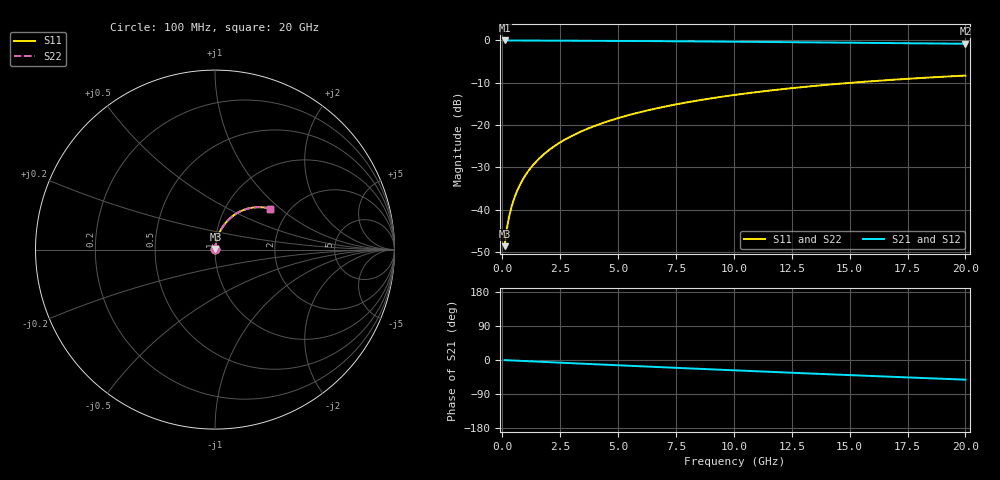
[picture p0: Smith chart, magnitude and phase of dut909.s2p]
! Touchstone file exported from HFSS 2026.1.0
!  File:  C:/ffzhzh/LocalFiles/Ansys_Project_Files/temp_train_BSMRDL_909_1783171526_51560.aedt
!  Generated:  09:26:50 PM Jul  4, 2026
!  Design:  BSMRDL
!  Project:  temp_train_BSMRDL_909_1783171526_51560
! Variables:
!  h_bsmrdl = 5.21um
!  h_ox = 20um
!  h_rdl = 5um
!  h_sub = 80um
!  h_tmrdl = 5um
!  h_tsv = 80um
!  h_via = 3um
!  l_bsmrdl = 826.71um
!  l_sub = 1226.71um
!  l_tmrdl = 200um
!  m_sub = 200um
!  pitch = 49.9um
!  r_tsv = 6um
!  s_tmrdl = 10um
!  w_bsmrdl = 25.67um
!  w_sub = 500um
!  w_tmrdl = 12um
!  x_tsv_center1 = 206um
!  x_tsv_center2 = 1058.38um
!  x_tsv_center3 = 1270.38um
!  x_tsv_center4 = 2122.76um
!  x_tsv_center5 = 2334.76um
!  x_tsv_center6 = 3187.14um
# GHz S MA R 50.000000
! Terminal data exported
! Port[1] = BSM_RDL1_1_T1
! Port[2] = BSM_RDL1_1_T2
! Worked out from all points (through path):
!   200 points, 100 MHz to 20 GHz, reference 50 ohm
!   highest |S21| = -0.02 dB at 100 MHz (marker M1); lowest = -0.8 dB at 20 GHz (marker M2)
!   group delay of S21, straight-line fit = 7.2 ps
!   lowest |S11| = -48.7 dB at 100 MHz (marker M3), VSWR 1.01, Z = 50.2 + j0.28 ohm
!   |S11| at or under -10 dB: start of sweep to 15.13 GHz
!   |S22| runs from -48.7 to -8.3 dB; largest |S21 - S12| = 2.7e-14
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0.1  0.003689 49.0  0.9976 -0.3  0.9976 -0.3  0.003689 49.0
! Gamma 0 0 0 0
! Port Impedance 50 0 50 0
0.2  0.006008 63.6  0.9974 -0.6  0.9974 -0.6  0.006008 63.6
0.3  0.008386 69.8  0.9972 -0.9  0.9972 -0.9  0.008386 69.8
0.4  0.01078 73.3  0.9971 -1.2  0.9971 -1.2  0.01078 73.3
0.5  0.0132 75.6  0.997 -1.4  0.997 -1.4  0.0132 75.6
0.7  0.01809 78.2  0.9968 -2.0  0.9968 -2.0  0.01809 78.2
0.8  0.02055 78.9  0.9967 -2.3  0.9967 -2.3  0.02055 78.9
1  0.02548 79.8  0.9964 -2.9  0.9964 -2.9  0.02548 79.8
1.2  0.03042 80.2  0.9962 -3.4  0.9962 -3.4  0.03042 80.2
1.4  0.03536 80.3  0.9959 -4.0  0.9959 -4.0  0.03536 80.3
1.7  0.04274 80.1  0.9954 -4.8  0.9954 -4.8  0.04273 80.1
2  0.05007 79.7  0.9948 -5.7  0.9948 -5.7  0.05007 79.7
2.7  0.06698 78.4  0.9931 -7.6  0.9931 -7.6  0.06698 78.4
3.5  0.08594 76.5  0.9909 -9.8  0.9909 -9.8  0.08593 76.5
4.2  0.1022 74.8  0.9887 -11.8  0.9887 -11.8  0.1022 74.8
5  0.1204 72.8  0.986 -14.0  0.986 -14.0  0.1204 72.8
6.8  0.1601 68.3  0.9791 -18.8  0.9791 -18.8  0.1601 68.3
8.3  0.1917 64.6  0.9727 -22.8  0.9727 -22.8  0.1916 64.6
10.1  0.2277 60.1  0.9642 -27.5  0.9642 -27.5  0.2277 60.1
13.4  0.2879 52.0  0.9471 -35.9  0.9471 -35.9  0.2879 52.0
16.7  0.3399 44.1  0.9292 -44.0  0.9292 -44.0  0.3399 44.2
20  0.3834 36.4  0.912 -51.9  0.912 -51.9  0.3833 36.5
